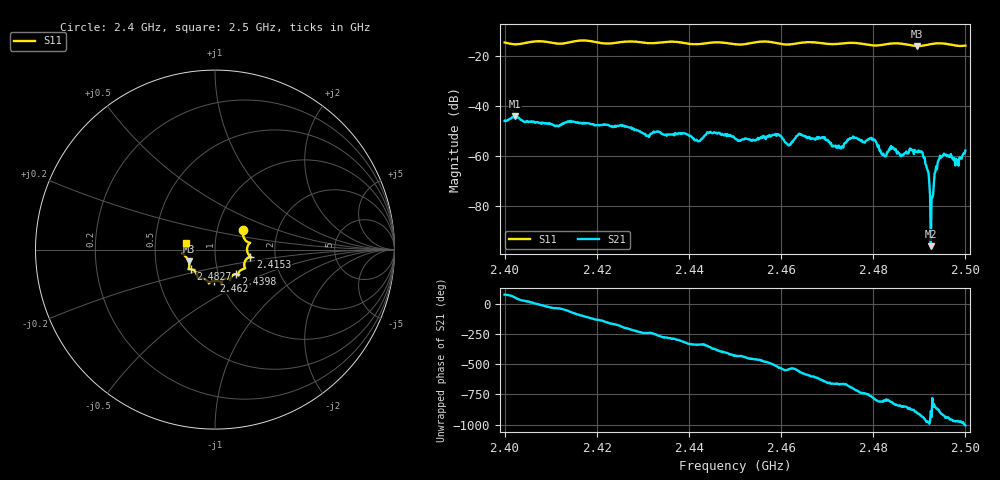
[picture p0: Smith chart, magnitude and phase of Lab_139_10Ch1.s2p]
# Hz S RI R 50
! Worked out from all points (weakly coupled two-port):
!   601 points, 2.4 GHz to 2.5 GHz, reference 50 ohm
!   highest |S21| = -43.97 dB at 2.4023 GHz (marker M1); lowest = -95.9 dB at 2.4925 GHz (marker M2)
!   lowest |S11| = -15.9 dB at 2.4895 GHz (marker M3), VSWR 1.38, Z = 37 - j5.01 ohm
!   |S11| at or under -10 dB: start of sweep to end of sweep
!   S12 and S22 are empty: the file has one direction only
!   S11 on the Smith chart (normalised r, x): 2.4 GHz: 1.33, +0.29; 2.4153 GHz: 1.48, -0.12; 2.4398 GHz: 1.21, -0.34; 2.462 GHz: 0.93, -0.33; 2.4827 GHz: 0.75, -0.17; 2.5 GHz: 0.72, +0.06
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2.4e9  0.1552 0.1067  0.00148 0.00491  0 0  0 0
2.402333e9  0.1593 0.0689  0.00422 0.00472  0 0  0 0
2.415333e9  0.1965 -0.0392  0.00044 -0.00483  0 0  0 0
2.416667e9  0.2023 -0.0433  -0.000671 -0.00464  0 0  0 0
2.433333e9  0.1301 -0.1338  -0.00031 0.00306  0 0  0 0
2.439833e9  0.1155 -0.1362  0.00238 0.00131  0 0  0 0
2.45e9  0.0648 -0.1619  0.000767 -0.00215  0 0  0 0
2.459167e9  0.0295 -0.18  -0.00255 -0.000947  0 0  0 0
2.462e9  -0.00528 -0.1729  -0.0017 -4.99e-05  0 0  0 0
2.463833e9  -0.0263 -0.1813  -0.0027 0.000796  0 0  0 0
2.466667e9  -0.0343 -0.1882  -0.00109 0.002  0 0  0 0
2.4725e9  -0.0758 -0.1605  0.00099 0.00132  0 0  0 0
2.4755e9  -0.0945 -0.1596  0.0022 0.000907  0 0  0 0
2.479833e9  -0.1087 -0.1246  0.00124 -0.0017  0 0  0 0
2.482667e9  -0.1349 -0.1087  0.000139 -0.000987  0 0  0 0
2.483333e9  -0.1403 -0.1083  0.000251 -0.00127  0 0  0 0
2.4895e9  -0.1461 -0.066  -0.00124 4.71e-05  0 0  0 0
2.491e9  -0.1582 -0.045  -0.000629 0.000679  0 0  0 0
2.4925e9  -0.1724 -0.0298  -1.56e-05 -3.66e-06  0 0  0 0
2.494833e9  -0.1803 -0.0198  -0.000999 0.000168  0 0  0 0
2.498167e9  -0.1625 0.00739  -0.000259 0.000681  0 0  0 0
2.5e9  -0.159 0.0387  0.000357 0.00125  0 0  0 0
